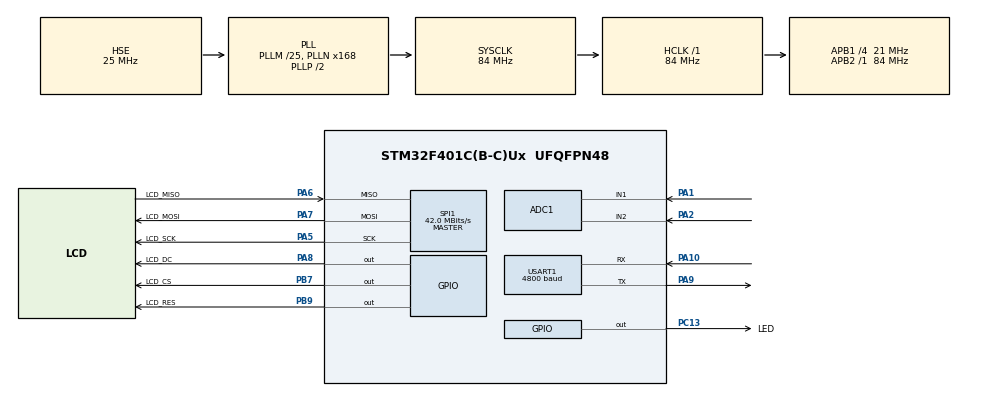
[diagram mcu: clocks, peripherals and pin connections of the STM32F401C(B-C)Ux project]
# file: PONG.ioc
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ADC1.Channel-0\#ChannelRegularConversion=ADC_CHANNEL_1
ADC1.Channel-1\#ChannelRegularConversion=ADC_CHANNEL_2
ADC1.ContinuousConvMode=DISABLE
ADC1.DMAContinuousRequests=DISABLE
ADC1.DiscontinuousConvMode=ENABLE
ADC1.InjNumberOfConversion=0
ADC1.NbrOfConversion=2
ADC1.NbrOfConversionFlag=1
ADC1.NbrOfDiscConversion=1
ADC1.Rank-0\#ChannelRegularConversion=1
ADC1.Rank-1\#ChannelRegularConversion=2
ADC1.SamplingTime-0\#ChannelRegularConversion=ADC_SAMPLETIME_3CYCLES
ADC1.SamplingTime-1\#ChannelRegularConversion=ADC_SAMPLETIME_3CYCLES
ADC1.ScanConvMode=ENABLE
ADC1.master=1
Dma.Request0=USART1_RX
Dma.Request1=USART1_TX
Dma.USART1_RX.0.Direction=DMA_PERIPH_TO_MEMORY
Dma.USART1_RX.0.FIFOMode=DMA_FIFOMODE_DISABLE
Dma.USART1_RX.0.Instance=DMA2_Stream2
Dma.USART1_RX.0.MemDataAlignment=DMA_MDATAALIGN_BYTE
Dma.USART1_RX.0.MemInc=DMA_MINC_ENABLE
Dma.USART1_RX.0.Mode=DMA_CIRCULAR
Dma.USART1_RX.0.PeriphDataAlignment=DMA_PDATAALIGN_BYTE
Dma.USART1_RX.0.PeriphInc=DMA_PINC_DISABLE
Dma.USART1_RX.0.Priority=DMA_PRIORITY_LOW
Dma.USART1_TX.1.Direction=DMA_MEMORY_TO_PERIPH
Dma.USART1_TX.1.FIFOMode=DMA_FIFOMODE_DISABLE
Dma.USART1_TX.1.Instance=DMA2_Stream7
Dma.USART1_TX.1.MemDataAlignment=DMA_MDATAALIGN_BYTE
Dma.USART1_TX.1.MemInc=DMA_MINC_ENABLE
Dma.USART1_TX.1.Mode=DMA_CIRCULAR
Dma.USART1_TX.1.PeriphDataAlignment=DMA_PDATAALIGN_BYTE
Dma.USART1_TX.1.PeriphInc=DMA_PINC_DISABLE
Dma.USART1_TX.1.Priority=DMA_PRIORITY_LOW
Mcu.Family=STM32F4
Mcu.Name=STM32F401C(B-C)Ux
Mcu.Package=UFQFPN48
NVIC.DMA2_Stream2_IRQn=true\:1\:0\:true\:false\:true\:false\:true\:true
NVIC.DMA2_Stream7_IRQn=true\:1\:0\:true\:false\:true\:false\:true\:true
NVIC.PriorityGroup=NVIC_PRIORITYGROUP_4
NVIC.TIM1_TRG_COM_TIM11_IRQn=true\:0\:0\:false\:false\:true\:true\:true\:true
NVIC.TIM1_UP_TIM10_IRQn=true\:0\:0\:true\:false\:true\:true\:true\:true
PA1.Signal=ADCx_IN1
PA10.Mode=Asynchronous
PA10.Signal=USART1_RX
PA2.Signal=ADCx_IN2
PA5.GPIO_Label=LCD_SCK
PA5.Mode=Full_Duplex_Master
PA5.Signal=SPI1_SCK
PA6.GPIO_Label=LCD_MISO
PA6.Mode=Full_Duplex_Master
PA6.Signal=SPI1_MISO
PA7.GPIO_Label=LCD_MOSI
PA7.Mode=Full_Duplex_Master
PA7.Signal=SPI1_MOSI
PA8.GPIO_Label=LCD_DC
PA8.Signal=GPIO_Output
PA9.Mode=Asynchronous
PA9.Signal=USART1_TX
PB7.GPIO_Label=LCD_CS
PB7.Signal=GPIO_Output
PB9.GPIO_Label=LCD_RES
PB9.Signal=GPIO_Output
PC13-ANTI_TAMP.GPIO_Label=LED
PC13-ANTI_TAMP.GPIO_ModeDefaultOutputPP=GPIO_MODE_OUTPUT_PP
PC13-ANTI_TAMP.GPIO_PuPd=GPIO_NOPULL
PC13-ANTI_TAMP.PinState=GPIO_PIN_SET
PC13-ANTI_TAMP.Signal=GPIO_Output
PC14-OSC32_IN.Mode=LSE-External-Oscillator
PC14-OSC32_IN.Signal=RCC_OSC32_IN
PC15-OSC32_OUT.Mode=LSE-External-Oscillator
PC15-OSC32_OUT.Signal=RCC_OSC32_OUT
PH0\ -\ OSC_IN.Mode=HSE-External-Oscillator
PH0\ -\ OSC_IN.Signal=RCC_OSC_IN
PH1\ -\ OSC_OUT.Mode=HSE-External-Oscillator
PH1\ -\ OSC_OUT.Signal=RCC_OSC_OUT
ProjectManager.HeapSize=0x200
ProjectManager.StackSize=0x400
ProjectManager.TargetToolchain=STM32CubeIDE
RCC.48MHZClocksFreq_Value=42000000
RCC.AHBFreq_Value=84000000
RCC.APB1CLKDivider=RCC_HCLK_DIV4
RCC.APB1Freq_Value=21000000
RCC.APB1TimFreq_Value=42000000
RCC.APB2Freq_Value=84000000
RCC.APB2TimFreq_Value=84000000
RCC.CortexFreq_Value=84000000
RCC.HCLKFreq_Value=84000000
RCC.HSE_VALUE=25000000
RCC.HSI_VALUE=16000000
RCC.PLLM=25
RCC.PLLN=168
RCC.PLLSourceVirtual=RCC_PLLSOURCE_HSE
RCC.SYSCLKFreq_VALUE=84000000
RCC.SYSCLKSource=RCC_SYSCLKSOURCE_PLLCLK
RCC.VCOOutputFreq_Value=168000000
SH.ADCx_IN1.0=ADC1_IN1,IN1
SH.ADCx_IN2.0=ADC1_IN2,IN2
SPI1.BaudRatePrescaler=SPI_BAUDRATEPRESCALER_2
SPI1.CalculateBaudRate=42.0 MBits/s
SPI1.Direction=SPI_DIRECTION_2LINES
SPI1.Mode=SPI_MODE_MASTER
SPI1.VirtualType=VM_MASTER
TIM10.Period=200-1
TIM10.Prescaler=5000-1
TIM11.AutoReloadPreload=TIM_AUTORELOAD_PRELOAD_DISABLE
TIM11.Period=1000-1
TIM11.Prescaler=8400-1
USART1.BaudRate=4800
USART1.VirtualMode=VM_ASYNC
VP_TIM10_VS_ClockSourceINT.Mode=Enable_Timer
VP_TIM11_VS_ClockSourceINT.Mode=Enable_Timer
board=custom

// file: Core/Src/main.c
/* USER CODE BEGIN Header */
/**
  ******************************************************************************

  * @file           : main.c

  * @brief          : Main program body

  ******************************************************************************
	Autorzy: Patryk Zemła, Karol Michalski

	Gra Pong wykorzystująca joysticki analogowe

  	Funkcje:
  	doGameTick() - wykonuje ruch piłki
  	restartGame() - restartuje/inicjalizuje grę
  	movePlayersPaddles() - sprawdza wychylenie joysticków i na tej podstawie przesuwa paletki
  	gameOver() - zatrzymuje timer sterujący piłką i paletkami oraz wyświetla ekran końca gry

  ******************************************************************************
  */

/* USER CODE END Header */
#include "main.h"
#include "adc.h"
#include "dma.h"
#include "spi.h"
#include "tim.h"
#include "usart.h"
#include "gpio.h"

/* USER CODE BEGIN Includes */

#ifndef DEFINITIONS_H_
#define DEFINITIONS_H_
#include "definitions.h"
#endif

#include "display.h"
#include "game.h"
/* USER CODE END Includes */

/* USER CODE BEGIN PV */
player p1;
player p2;
ball b;
int game_over_flag = 0;
int uart_sync_flag = 0;
extern unsigned char bt_data[];
/* USER CODE END PV */

void SystemClock_Config(void);

int main(void)
{

  /* MCU Configuration--------------------------------------------------------*/

  /* Reset of all peripherals, Initializes the Flash interface and the Systick. */
  HAL_Init();

  /* Configure the system clock */
  SystemClock_Config();

  /* Initialize all configured peripherals */
  MX_GPIO_Init();
  MX_DMA_Init();
  MX_SPI1_Init();
  MX_TIM10_Init();
  MX_ADC1_Init();
  MX_TIM11_Init();
  MX_USART1_UART_Init();
  /* USER CODE BEGIN 2 */
  ST7735_Init();
  ST7735_FillScreenFast(ST7735_BLACK);
  ST7735_WriteString(10, 80, "Connecting", Font_11x18, ST7735_WHITE, ST7735_BLACK);
  HAL_UART_Init(&huart1);
  HAL_UART_Receive_DMA(&BLUETOOTH, &bt_data[6], sizeof(bt_data[6]));

  /* USER CODE END 2 */

  /* Infinite loop */
  while (1)
  {

  }
}

void SystemClock_Config(void)
{
  RCC_OscInitTypeDef RCC_OscInitStruct = {0};
  RCC_ClkInitTypeDef RCC_ClkInitStruct = {0};

  /** Configure the main internal regulator output voltage
  */
  __HAL_RCC_PWR_CLK_ENABLE();
  __HAL_PWR_VOLTAGESCALING_CONFIG(PWR_REGULATOR_VOLTAGE_SCALE2);

  /** Initializes the RCC Oscillators according to the specified parameters
  * in the RCC_OscInitTypeDef structure.
  */
  RCC_OscInitStruct.OscillatorType = RCC_OSCILLATORTYPE_HSE;
  RCC_OscInitStruct.HSEState = RCC_HSE_ON;
  RCC_OscInitStruct.PLL.PLLState = RCC_PLL_ON;
  RCC_OscInitStruct.PLL.PLLSource = RCC_PLLSOURCE_HSE;
  RCC_OscInitStruct.PLL.PLLM = 25;
  RCC_OscInitStruct.PLL.PLLN = 168;
  RCC_OscInitStruct.PLL.PLLP = RCC_PLLP_DIV2;
  RCC_OscInitStruct.PLL.PLLQ = 4;
  if (HAL_RCC_OscConfig(&RCC_OscInitStruct) != HAL_OK)
  {
    Error_Handler();
  }

  /** Initializes the CPU, AHB and APB buses clocks
  */
  RCC_ClkInitStruct.ClockType = RCC_CLOCKTYPE_HCLK|RCC_CLOCKTYPE_SYSCLK
                              |RCC_CLOCKTYPE_PCLK1|RCC_CLOCKTYPE_PCLK2;
  RCC_ClkInitStruct.SYSCLKSource = RCC_SYSCLKSOURCE_PLLCLK;
  RCC_ClkInitStruct.AHBCLKDivider = RCC_SYSCLK_DIV1;
  RCC_ClkInitStruct.APB1CLKDivider = RCC_HCLK_DIV4;
  RCC_ClkInitStruct.APB2CLKDivider = RCC_HCLK_DIV1;

  if (HAL_RCC_ClockConfig(&RCC_ClkInitStruct, FLASH_LATENCY_2) != HAL_OK)
  {
    Error_Handler();
  }
}

/* USER CODE BEGIN 4 */
void HAL_UART_RxCpltCallback(UART_HandleTypeDef *huart)
{
	if(bt_data[6] == 200 && uart_sync_flag == 0){
		uart_sync_flag = 1;
		HAL_UART_DMAStop(&BLUETOOTH);
		startBluetooth();
		restartGame(&b, &p1, &p2);
	}
	if(game_over_flag==0 && uart_sync_flag == 1){
		calculateJoystickTilt();
		doGameTick(&b);
		movePlayersPaddles(&p1, &p2);
		if(b.y<0 || b.y>160){
			gameOver(&b);
			game_over_flag = 1;
		}
	}
	else if(bt_data[5]>0 && bt_data[5]<160 && uart_sync_flag == 1){
		restartGame(&b, &p1, &p2);
		game_over_flag = 0;
	}
}

/* USER CODE END 4 */

void Error_Handler(void)
{
  __disable_irq();
  while (1)
  {
  }
}
